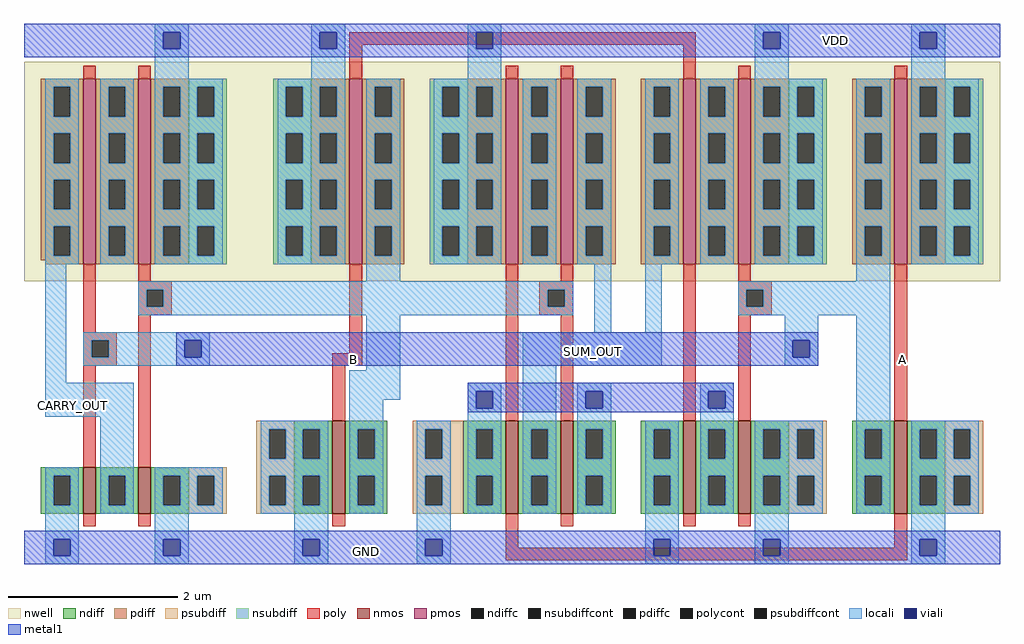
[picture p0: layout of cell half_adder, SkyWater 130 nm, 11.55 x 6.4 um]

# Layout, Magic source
magic
tech sky130A
<< nwell >>
rect -545 -20 610 240
<< nmos >>
rect -475 -295 -460 -240
rect -410 -295 -395 -240
rect -180 -295 -165 -185
rect 25 -295 40 -185
rect 90 -295 105 -185
rect 235 -295 250 -185
rect 300 -295 315 -185
rect 485 -295 500 -185
<< pmos >>
rect -475 0 -460 220
rect -410 0 -395 220
rect -160 0 -145 220
rect 25 0 40 220
rect 90 0 105 220
rect 235 0 250 220
rect 300 0 315 220
rect 485 0 500 220
<< ndiff >>
rect -225 -195 -180 -185
rect -225 -230 -215 -195
rect -195 -230 -180 -195
rect -525 -250 -475 -240
rect -525 -285 -510 -250
rect -490 -285 -475 -250
rect -525 -295 -475 -285
rect -460 -250 -410 -240
rect -460 -285 -445 -250
rect -425 -285 -410 -250
rect -460 -295 -410 -285
rect -395 -250 -350 -240
rect -395 -285 -380 -250
rect -360 -285 -350 -250
rect -395 -295 -350 -285
rect -225 -250 -180 -230
rect -225 -285 -215 -250
rect -195 -285 -180 -250
rect -225 -295 -180 -285
rect -165 -195 -115 -185
rect -165 -230 -150 -195
rect -130 -230 -115 -195
rect -165 -250 -115 -230
rect -165 -285 -150 -250
rect -130 -285 -115 -250
rect -165 -295 -115 -285
rect -25 -195 25 -185
rect -25 -230 -10 -195
rect 10 -230 25 -195
rect -25 -250 25 -230
rect -25 -285 -10 -250
rect 10 -285 25 -250
rect -25 -295 25 -285
rect 40 -195 90 -185
rect 40 -230 55 -195
rect 75 -230 90 -195
rect 40 -250 90 -230
rect 40 -285 55 -250
rect 75 -285 90 -250
rect 40 -295 90 -285
rect 105 -195 155 -185
rect 105 -230 120 -195
rect 140 -230 155 -195
rect 105 -250 155 -230
rect 105 -285 120 -250
rect 140 -285 155 -250
rect 105 -295 155 -285
rect 185 -195 235 -185
rect 185 -230 200 -195
rect 220 -230 235 -195
rect 185 -250 235 -230
rect 185 -285 200 -250
rect 220 -285 235 -250
rect 185 -295 235 -285
rect 250 -195 300 -185
rect 250 -230 265 -195
rect 285 -230 300 -195
rect 250 -250 300 -230
rect 250 -285 265 -250
rect 285 -285 300 -250
rect 250 -295 300 -285
rect 315 -195 360 -185
rect 315 -230 330 -195
rect 350 -230 360 -195
rect 315 -250 360 -230
rect 315 -285 330 -250
rect 350 -285 360 -250
rect 315 -295 360 -285
rect 435 -195 485 -185
rect 435 -230 450 -195
rect 470 -230 485 -195
rect 435 -250 485 -230
rect 435 -285 450 -250
rect 470 -285 485 -250
rect 435 -295 485 -285
rect 500 -195 545 -185
rect 500 -230 515 -195
rect 535 -230 545 -195
rect 500 -250 545 -230
rect 500 -285 515 -250
rect 535 -285 545 -250
rect 500 -295 545 -285
<< pdiff >>
rect -525 210 -475 220
rect -525 175 -510 210
rect -490 175 -475 210
rect -525 155 -475 175
rect -525 120 -510 155
rect -490 120 -475 155
rect -525 100 -475 120
rect -525 65 -510 100
rect -490 65 -475 100
rect -525 45 -475 65
rect -525 10 -510 45
rect -490 10 -475 45
rect -525 5 -475 10
rect -520 0 -475 5
rect -460 210 -410 220
rect -460 175 -445 210
rect -425 175 -410 210
rect -460 155 -410 175
rect -460 120 -445 155
rect -425 120 -410 155
rect -460 100 -410 120
rect -460 65 -445 100
rect -425 65 -410 100
rect -460 45 -410 65
rect -460 10 -445 45
rect -425 10 -410 45
rect -460 0 -410 10
rect -395 210 -350 220
rect -395 175 -380 210
rect -360 175 -350 210
rect -395 155 -350 175
rect -395 120 -380 155
rect -360 120 -350 155
rect -395 100 -350 120
rect -395 65 -380 100
rect -360 65 -350 100
rect -395 45 -350 65
rect -395 10 -380 45
rect -360 10 -350 45
rect -395 0 -350 10
rect -205 210 -160 220
rect -205 175 -195 210
rect -175 175 -160 210
rect -205 155 -160 175
rect -205 120 -195 155
rect -175 120 -160 155
rect -205 100 -160 120
rect -205 65 -195 100
rect -175 65 -160 100
rect -205 45 -160 65
rect -205 10 -195 45
rect -175 10 -160 45
rect -205 0 -160 10
rect -145 210 -95 220
rect -145 175 -130 210
rect -110 175 -95 210
rect -145 155 -95 175
rect -145 120 -130 155
rect -110 120 -95 155
rect -145 100 -95 120
rect -145 65 -130 100
rect -110 65 -95 100
rect -145 45 -95 65
rect -145 10 -130 45
rect -110 10 -95 45
rect -145 0 -95 10
rect -20 210 25 220
rect -20 175 -10 210
rect 10 175 25 210
rect -20 155 25 175
rect -20 120 -10 155
rect 10 120 25 155
rect -20 100 25 120
rect -20 65 -10 100
rect 10 65 25 100
rect -20 45 25 65
rect -20 10 -10 45
rect 10 10 25 45
rect -20 0 25 10
rect 40 210 90 220
rect 40 175 55 210
rect 75 175 90 210
rect 40 155 90 175
rect 40 120 55 155
rect 75 120 90 155
rect 40 100 90 120
rect 40 65 55 100
rect 75 65 90 100
rect 40 45 90 65
rect 40 10 55 45
rect 75 10 90 45
rect 40 0 90 10
rect 105 210 155 220
rect 105 175 120 210
rect 140 175 155 210
rect 105 155 155 175
rect 105 120 120 155
rect 140 120 155 155
rect 105 100 155 120
rect 105 65 120 100
rect 140 65 155 100
rect 105 45 155 65
rect 105 10 120 45
rect 140 10 155 45
rect 105 0 155 10
rect 185 210 235 220
rect 185 175 200 210
rect 220 175 235 210
rect 185 155 235 175
rect 185 120 200 155
rect 220 120 235 155
rect 185 100 235 120
rect 185 65 200 100
rect 220 65 235 100
rect 185 45 235 65
rect 185 10 200 45
rect 220 10 235 45
rect 185 0 235 10
rect 250 210 300 220
rect 250 175 265 210
rect 285 175 300 210
rect 250 155 300 175
rect 250 120 265 155
rect 285 120 300 155
rect 250 100 300 120
rect 250 65 265 100
rect 285 65 300 100
rect 250 45 300 65
rect 250 10 265 45
rect 285 10 300 45
rect 250 0 300 10
rect 315 210 360 220
rect 315 175 330 210
rect 350 175 360 210
rect 315 155 360 175
rect 315 120 330 155
rect 350 120 360 155
rect 315 100 360 120
rect 315 65 330 100
rect 350 65 360 100
rect 315 45 360 65
rect 315 10 330 45
rect 350 10 360 45
rect 315 0 360 10
rect 435 210 485 220
rect 435 175 450 210
rect 470 175 485 210
rect 435 155 485 175
rect 435 120 450 155
rect 470 120 485 155
rect 435 100 485 120
rect 435 65 450 100
rect 470 65 485 100
rect 435 45 485 65
rect 435 10 450 45
rect 470 10 485 45
rect 435 0 485 10
rect 500 210 545 220
rect 500 175 515 210
rect 535 175 545 210
rect 500 155 545 175
rect 500 120 515 155
rect 535 120 545 155
rect 500 100 545 120
rect 500 65 515 100
rect 535 65 545 100
rect 500 45 545 65
rect 500 10 515 45
rect 535 10 545 45
rect 500 0 545 10
<< ndiffc >>
rect -215 -230 -195 -195
rect -510 -285 -490 -250
rect -445 -285 -425 -250
rect -380 -285 -360 -250
rect -215 -285 -195 -250
rect -150 -230 -130 -195
rect -150 -285 -130 -250
rect -10 -230 10 -195
rect -10 -285 10 -250
rect 55 -230 75 -195
rect 55 -285 75 -250
rect 120 -230 140 -195
rect 120 -285 140 -250
rect 200 -230 220 -195
rect 200 -285 220 -250
rect 265 -230 285 -195
rect 265 -285 285 -250
rect 330 -230 350 -195
rect 330 -285 350 -250
rect 450 -230 470 -195
rect 450 -285 470 -250
rect 515 -230 535 -195
rect 515 -285 535 -250
<< pdiffc >>
rect -510 175 -490 210
rect -510 120 -490 155
rect -510 65 -490 100
rect -510 10 -490 45
rect -445 175 -425 210
rect -445 120 -425 155
rect -445 65 -425 100
rect -445 10 -425 45
rect -380 175 -360 210
rect -380 120 -360 155
rect -380 65 -360 100
rect -380 10 -360 45
rect -195 175 -175 210
rect -195 120 -175 155
rect -195 65 -175 100
rect -195 10 -175 45
rect -130 175 -110 210
rect -130 120 -110 155
rect -130 65 -110 100
rect -130 10 -110 45
rect -10 175 10 210
rect -10 120 10 155
rect -10 65 10 100
rect -10 10 10 45
rect 55 175 75 210
rect 55 120 75 155
rect 55 65 75 100
rect 55 10 75 45
rect 120 175 140 210
rect 120 120 140 155
rect 120 65 140 100
rect 120 10 140 45
rect 200 175 220 210
rect 200 120 220 155
rect 200 65 220 100
rect 200 10 220 45
rect 265 175 285 210
rect 265 120 285 155
rect 265 65 285 100
rect 265 10 285 45
rect 330 175 350 210
rect 330 120 350 155
rect 330 65 350 100
rect 330 10 350 45
rect 450 175 470 210
rect 450 120 470 155
rect 450 65 470 100
rect 450 10 470 45
rect 515 175 535 210
rect 515 120 535 155
rect 515 65 535 100
rect 515 10 535 45
<< psubdiff >>
rect -270 -195 -225 -185
rect -270 -230 -255 -195
rect -235 -230 -225 -195
rect -350 -250 -305 -240
rect -350 -285 -340 -250
rect -320 -285 -305 -250
rect -350 -295 -305 -285
rect -270 -250 -225 -230
rect -270 -285 -255 -250
rect -235 -285 -225 -250
rect -270 -295 -225 -285
rect -85 -195 -25 -185
rect -85 -230 -70 -195
rect -50 -230 -25 -195
rect -85 -250 -25 -230
rect -85 -285 -70 -250
rect -50 -285 -25 -250
rect -85 -295 -25 -285
rect 360 -195 405 -185
rect 360 -230 370 -195
rect 390 -230 405 -195
rect 360 -250 405 -230
rect 360 -285 370 -250
rect 390 -285 405 -250
rect 360 -295 405 -285
rect 545 -195 590 -185
rect 545 -230 555 -195
rect 575 -230 590 -195
rect 545 -250 590 -230
rect 545 -285 555 -250
rect 575 -285 590 -250
rect 545 -295 590 -285
<< nsubdiff >>
rect -350 210 -305 220
rect -350 175 -340 210
rect -320 175 -305 210
rect -350 155 -305 175
rect -350 120 -340 155
rect -320 120 -305 155
rect -350 100 -305 120
rect -350 65 -340 100
rect -320 65 -305 100
rect -350 45 -305 65
rect -350 10 -340 45
rect -320 10 -305 45
rect -350 0 -305 10
rect -250 210 -205 220
rect -250 175 -235 210
rect -215 175 -205 210
rect -250 155 -205 175
rect -250 120 -235 155
rect -215 120 -205 155
rect -250 100 -205 120
rect -250 65 -235 100
rect -215 65 -205 100
rect -250 45 -205 65
rect -250 10 -235 45
rect -215 10 -205 45
rect -250 0 -205 10
rect -65 210 -20 220
rect -65 175 -50 210
rect -30 175 -20 210
rect -65 155 -20 175
rect -65 120 -50 155
rect -30 120 -20 155
rect -65 100 -20 120
rect -65 65 -50 100
rect -30 65 -20 100
rect -65 45 -20 65
rect -65 10 -50 45
rect -30 10 -20 45
rect -65 0 -20 10
rect 360 210 405 220
rect 360 175 370 210
rect 390 175 405 210
rect 360 155 405 175
rect 360 120 370 155
rect 390 120 405 155
rect 360 100 405 120
rect 360 65 370 100
rect 390 65 405 100
rect 360 45 405 65
rect 360 10 370 45
rect 390 10 405 45
rect 360 0 405 10
rect 545 210 590 220
rect 545 175 555 210
rect 575 175 590 210
rect 545 155 590 175
rect 545 120 555 155
rect 575 120 590 155
rect 545 100 590 120
rect 545 65 555 100
rect 575 65 590 100
rect 545 45 590 65
rect 545 10 555 45
rect 575 10 590 45
rect 545 0 590 10
<< psubdiffcont >>
rect -255 -230 -235 -195
rect -340 -285 -320 -250
rect -255 -285 -235 -250
rect -70 -230 -50 -195
rect -70 -285 -50 -250
rect 370 -230 390 -195
rect 370 -285 390 -250
rect 555 -230 575 -195
rect 555 -285 575 -250
<< nsubdiffcont >>
rect -340 175 -320 210
rect -340 120 -320 155
rect -340 65 -320 100
rect -340 10 -320 45
rect -235 175 -215 210
rect -235 120 -215 155
rect -235 65 -215 100
rect -235 10 -215 45
rect -50 175 -30 210
rect -50 120 -30 155
rect -50 65 -30 100
rect -50 10 -30 45
rect 370 175 390 210
rect 370 120 390 155
rect 370 65 390 100
rect 370 10 390 45
rect 555 175 575 210
rect 555 120 575 155
rect 555 65 575 100
rect 555 10 575 45
<< poly >>
rect -160 260 250 275
rect -475 220 -460 235
rect -410 220 -395 235
rect -160 220 -145 260
rect 25 220 40 235
rect 90 220 105 235
rect 235 220 250 260
rect 300 220 315 235
rect 485 220 500 235
rect -475 -80 -460 0
rect -410 -20 -395 0
rect -410 -30 -370 -20
rect -410 -50 -400 -30
rect -380 -50 -370 -30
rect -410 -60 -370 -50
rect -475 -90 -435 -80
rect -475 -110 -465 -90
rect -445 -110 -435 -90
rect -475 -120 -435 -110
rect -475 -240 -460 -120
rect -410 -240 -395 -60
rect -160 -105 -145 0
rect -180 -120 -145 -105
rect -180 -185 -165 -120
rect 25 -185 40 0
rect 90 -20 105 0
rect 65 -30 105 -20
rect 65 -50 75 -30
rect 95 -50 105 -30
rect 65 -60 105 -50
rect 90 -185 105 -60
rect 235 -185 250 0
rect 300 -20 315 0
rect 300 -30 340 -20
rect 300 -50 310 -30
rect 330 -50 340 -30
rect 300 -60 340 -50
rect 300 -185 315 -60
rect 485 -185 500 0
rect -475 -310 -460 -295
rect -410 -310 -395 -295
rect -180 -310 -165 -295
rect 25 -335 40 -295
rect 90 -310 105 -295
rect 235 -310 250 -295
rect 300 -310 315 -295
rect 485 -335 500 -295
rect 25 -350 500 -335
<< polycont >>
rect -400 -50 -380 -30
rect -465 -110 -445 -90
rect 75 -50 95 -30
rect 310 -50 330 -30
<< locali >>
rect -390 275 -350 285
rect -390 255 -380 275
rect -360 255 -350 275
rect -390 220 -350 255
rect -205 275 -165 285
rect -205 255 -195 275
rect -175 255 -165 275
rect -205 220 -165 255
rect -20 275 20 285
rect -20 255 -10 275
rect 10 255 20 275
rect -20 220 20 255
rect 320 275 360 285
rect 320 255 330 275
rect 350 255 360 275
rect 320 220 360 255
rect 505 275 545 285
rect 505 255 515 275
rect 535 255 545 275
rect 505 220 545 255
rect -520 210 -480 220
rect -520 175 -510 210
rect -490 175 -480 210
rect -520 155 -480 175
rect -520 120 -510 155
rect -490 120 -480 155
rect -520 100 -480 120
rect -520 65 -510 100
rect -490 65 -480 100
rect -520 45 -480 65
rect -520 10 -510 45
rect -490 10 -480 45
rect -520 0 -480 10
rect -455 210 -415 220
rect -455 175 -445 210
rect -425 175 -415 210
rect -455 155 -415 175
rect -455 120 -445 155
rect -425 120 -415 155
rect -455 100 -415 120
rect -455 65 -445 100
rect -425 65 -415 100
rect -455 45 -415 65
rect -455 10 -445 45
rect -425 10 -415 45
rect -455 0 -415 10
rect -390 210 -310 220
rect -390 175 -380 210
rect -360 175 -340 210
rect -320 175 -310 210
rect -390 155 -310 175
rect -390 120 -380 155
rect -360 120 -340 155
rect -320 120 -310 155
rect -390 100 -310 120
rect -390 65 -380 100
rect -360 65 -340 100
rect -320 65 -310 100
rect -390 45 -310 65
rect -390 10 -380 45
rect -360 10 -340 45
rect -320 10 -310 45
rect -390 0 -310 10
rect -245 210 -165 220
rect -245 175 -235 210
rect -215 175 -195 210
rect -175 175 -165 210
rect -245 155 -165 175
rect -245 120 -235 155
rect -215 120 -195 155
rect -175 120 -165 155
rect -245 100 -165 120
rect -245 65 -235 100
rect -215 65 -195 100
rect -175 65 -165 100
rect -245 45 -165 65
rect -245 10 -235 45
rect -215 10 -195 45
rect -175 10 -165 45
rect -245 0 -165 10
rect -140 210 -100 220
rect -140 175 -130 210
rect -110 175 -100 210
rect -140 155 -100 175
rect -140 120 -130 155
rect -110 120 -100 155
rect -140 100 -100 120
rect -140 65 -130 100
rect -110 65 -100 100
rect -140 45 -100 65
rect -140 10 -130 45
rect -110 10 -100 45
rect -520 -140 -495 0
rect -140 -20 -100 10
rect -60 210 20 220
rect -60 175 -50 210
rect -30 175 -10 210
rect 10 175 20 210
rect -60 155 20 175
rect -60 120 -50 155
rect -30 120 -10 155
rect 10 120 20 155
rect -60 100 20 120
rect -60 65 -50 100
rect -30 65 -10 100
rect 10 65 20 100
rect -60 45 20 65
rect -60 10 -50 45
rect -30 10 -10 45
rect 10 10 20 45
rect -60 0 20 10
rect 45 210 85 220
rect 45 175 55 210
rect 75 175 85 210
rect 45 155 85 175
rect 45 120 55 155
rect 75 120 85 155
rect 45 100 85 120
rect 45 65 55 100
rect 75 65 85 100
rect 45 45 85 65
rect 45 10 55 45
rect 75 10 85 45
rect 45 0 85 10
rect 110 210 150 220
rect 110 175 120 210
rect 140 175 150 210
rect 110 155 150 175
rect 110 120 120 155
rect 140 120 150 155
rect 110 100 150 120
rect 110 65 120 100
rect 140 65 150 100
rect 110 45 150 65
rect 110 10 120 45
rect 140 10 150 45
rect 110 0 150 10
rect -410 -30 105 -20
rect -410 -50 -400 -30
rect -380 -50 75 -30
rect 95 -50 105 -30
rect -410 -60 105 -50
rect -475 -90 -325 -80
rect -475 -110 -465 -90
rect -445 -110 -355 -90
rect -335 -110 -325 -90
rect -475 -120 -325 -110
rect -140 -125 -100 -60
rect 130 -80 150 0
rect 190 210 230 220
rect 190 175 200 210
rect 220 175 230 210
rect 190 155 230 175
rect 190 120 200 155
rect 220 120 230 155
rect 190 100 230 120
rect 190 65 200 100
rect 220 65 230 100
rect 190 45 230 65
rect 190 10 200 45
rect 220 10 230 45
rect 190 0 230 10
rect 255 210 295 220
rect 255 175 265 210
rect 285 175 295 210
rect 255 155 295 175
rect 255 120 265 155
rect 285 120 295 155
rect 255 100 295 120
rect 255 65 265 100
rect 285 65 295 100
rect 255 45 295 65
rect 255 10 265 45
rect 285 10 295 45
rect 255 0 295 10
rect 320 210 400 220
rect 320 175 330 210
rect 350 175 370 210
rect 390 175 400 210
rect 320 155 400 175
rect 320 120 330 155
rect 350 120 370 155
rect 390 120 400 155
rect 320 100 400 120
rect 320 65 330 100
rect 350 65 370 100
rect 390 65 400 100
rect 320 45 400 65
rect 320 10 330 45
rect 350 10 370 45
rect 390 10 400 45
rect 320 0 400 10
rect 440 210 480 220
rect 440 175 450 210
rect 470 175 480 210
rect 440 155 480 175
rect 440 120 450 155
rect 470 120 480 155
rect 440 100 480 120
rect 440 65 450 100
rect 470 65 480 100
rect 440 45 480 65
rect 440 10 450 45
rect 470 10 480 45
rect 190 -80 210 0
rect 440 -20 480 10
rect 505 210 585 220
rect 505 175 515 210
rect 535 175 555 210
rect 575 175 585 210
rect 505 155 585 175
rect 505 120 515 155
rect 535 120 555 155
rect 575 120 585 155
rect 505 100 585 120
rect 505 65 515 100
rect 535 65 555 100
rect 575 65 585 100
rect 505 45 585 65
rect 505 10 515 45
rect 535 10 555 45
rect 575 10 585 45
rect 505 0 585 10
rect 300 -30 480 -20
rect 300 -50 310 -30
rect 330 -50 480 -30
rect 300 -60 480 -50
rect -520 -180 -415 -140
rect -520 -250 -480 -240
rect -520 -285 -510 -250
rect -490 -285 -480 -250
rect -520 -325 -480 -285
rect -455 -250 -415 -180
rect -160 -160 -100 -125
rect 45 -120 210 -80
rect 355 -90 395 -60
rect 355 -110 365 -90
rect 385 -110 395 -90
rect 355 -120 395 -110
rect -20 -150 20 -140
rect -265 -195 -185 -185
rect -265 -230 -255 -195
rect -235 -230 -215 -195
rect -195 -230 -185 -195
rect -455 -285 -445 -250
rect -425 -285 -415 -250
rect -455 -295 -415 -285
rect -390 -250 -310 -240
rect -390 -285 -380 -250
rect -360 -285 -340 -250
rect -320 -285 -310 -250
rect -390 -295 -310 -285
rect -265 -250 -185 -230
rect -265 -285 -255 -250
rect -235 -285 -215 -250
rect -195 -285 -185 -250
rect -265 -295 -185 -285
rect -160 -195 -120 -160
rect -20 -170 -10 -150
rect 10 -170 20 -150
rect -160 -230 -150 -195
rect -130 -230 -120 -195
rect -160 -250 -120 -230
rect -160 -285 -150 -250
rect -130 -285 -120 -250
rect -160 -295 -120 -285
rect -80 -195 -40 -185
rect -80 -230 -70 -195
rect -50 -230 -40 -195
rect -80 -250 -40 -230
rect -80 -285 -70 -250
rect -50 -285 -40 -250
rect -520 -345 -510 -325
rect -490 -345 -480 -325
rect -520 -355 -480 -345
rect -390 -325 -350 -295
rect -390 -345 -380 -325
rect -360 -345 -350 -325
rect -390 -355 -350 -345
rect -225 -325 -185 -295
rect -225 -345 -215 -325
rect -195 -345 -185 -325
rect -225 -355 -185 -345
rect -80 -325 -40 -285
rect -20 -195 20 -170
rect -20 -230 -10 -195
rect 10 -230 20 -195
rect -20 -250 20 -230
rect -20 -285 -10 -250
rect 10 -285 20 -250
rect -20 -295 20 -285
rect 45 -195 85 -120
rect 45 -230 55 -195
rect 75 -230 85 -195
rect 45 -250 85 -230
rect 45 -285 55 -250
rect 75 -285 85 -250
rect 45 -295 85 -285
rect 110 -150 150 -140
rect 110 -170 120 -150
rect 140 -170 150 -150
rect 110 -195 150 -170
rect 255 -150 295 -140
rect 255 -170 265 -150
rect 285 -170 295 -150
rect 110 -230 120 -195
rect 140 -230 150 -195
rect 110 -250 150 -230
rect 110 -285 120 -250
rect 140 -285 150 -250
rect 110 -295 150 -285
rect 190 -195 230 -185
rect 190 -230 200 -195
rect 220 -230 230 -195
rect 190 -250 230 -230
rect 190 -285 200 -250
rect 220 -285 230 -250
rect -80 -345 -70 -325
rect -50 -345 -40 -325
rect -80 -355 -40 -345
rect 190 -325 230 -285
rect 255 -195 295 -170
rect 255 -230 265 -195
rect 285 -230 295 -195
rect 255 -250 295 -230
rect 255 -285 265 -250
rect 285 -285 295 -250
rect 255 -295 295 -285
rect 320 -195 400 -185
rect 320 -230 330 -195
rect 350 -230 370 -195
rect 390 -230 400 -195
rect 320 -250 400 -230
rect 320 -285 330 -250
rect 350 -285 370 -250
rect 390 -285 400 -250
rect 320 -295 400 -285
rect 440 -195 480 -60
rect 440 -230 450 -195
rect 470 -230 480 -195
rect 440 -250 480 -230
rect 440 -285 450 -250
rect 470 -285 480 -250
rect 440 -295 480 -285
rect 505 -195 585 -185
rect 505 -230 515 -195
rect 535 -230 555 -195
rect 575 -230 585 -195
rect 505 -250 585 -230
rect 505 -285 515 -250
rect 535 -285 555 -250
rect 575 -285 585 -250
rect 505 -295 585 -285
rect 190 -345 200 -325
rect 220 -345 230 -325
rect 190 -355 230 -345
rect 320 -325 360 -295
rect 320 -345 330 -325
rect 350 -345 360 -325
rect 320 -355 360 -345
rect 505 -325 545 -295
rect 505 -345 515 -325
rect 535 -345 545 -325
rect 505 -355 545 -345
<< viali >>
rect -380 255 -360 275
rect -195 255 -175 275
rect -10 255 10 275
rect 330 255 350 275
rect 515 255 535 275
rect -355 -110 -335 -90
rect 365 -110 385 -90
rect -10 -170 10 -150
rect -510 -345 -490 -325
rect -380 -345 -360 -325
rect -215 -345 -195 -325
rect 120 -170 140 -150
rect 265 -170 285 -150
rect -70 -345 -50 -325
rect 200 -345 220 -325
rect 330 -345 350 -325
rect 515 -345 535 -325
<< metal1 >>
rect -545 275 610 285
rect -545 255 -380 275
rect -360 255 -195 275
rect -175 255 -10 275
rect 10 255 330 275
rect 350 255 515 275
rect 535 255 610 275
rect -545 245 610 255
rect -365 -90 395 -80
rect -365 -110 -355 -90
rect -335 -110 365 -90
rect 385 -110 395 -90
rect -365 -120 395 -110
rect -20 -150 295 -140
rect -20 -170 -10 -150
rect 10 -170 120 -150
rect 140 -170 265 -150
rect 285 -170 295 -150
rect -20 -175 295 -170
rect -545 -325 610 -315
rect -545 -345 -510 -325
rect -490 -345 -380 -325
rect -360 -345 -215 -325
rect -195 -345 -70 -325
rect -50 -345 200 -325
rect 220 -345 330 -325
rect 350 -345 515 -325
rect 535 -345 610 -325
rect -545 -355 610 -345
<< labels >>
flabel metal1 410 260 420 270 0 FreeSans 160 0 164 104 VDD
port 11 nsew
flabel metal1 -145 -345 -135 -335 0 FreeSans 160 0 -58 -120 GND
port 13 nsew
flabel poly 490 -120 500 -105 0 FreeSans 160 0 172 -30 A
port 7 nsew
flabel poly -160 -120 -150 -105 0 FreeSans 160 0 -32 -30 B
port 5 nsew
flabel locali 125 -105 130 -100 0 FreeSans 160 0 50 -42 SUM_OUT
port 14 nsew
flabel locali -490 -170 -485 -165 0 FreeSans 160 0 -196 -68 CARRY_OUT
port 15 nsew
<< end >>
